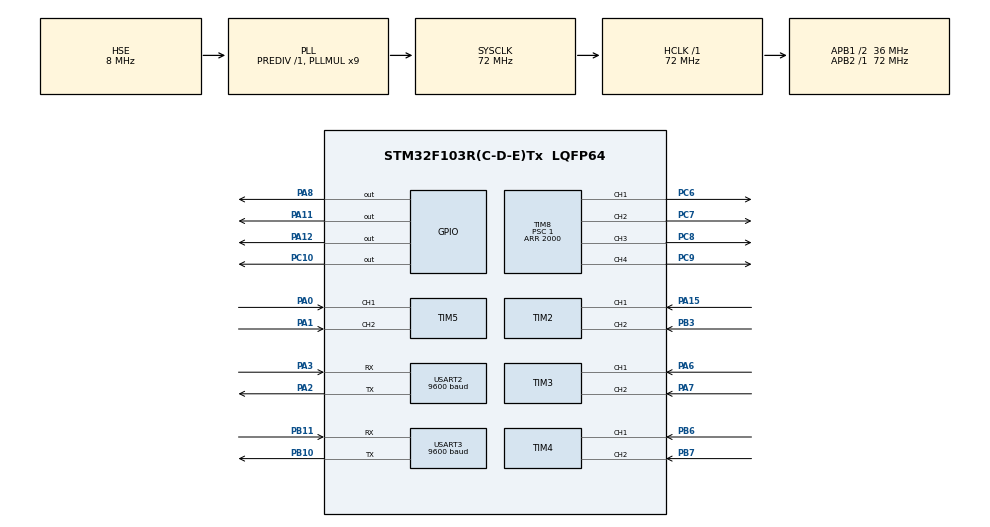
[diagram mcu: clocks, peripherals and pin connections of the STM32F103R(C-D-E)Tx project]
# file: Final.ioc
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Mcu.Family=STM32F1
Mcu.Name=STM32F103R(C-D-E)Tx
Mcu.Package=LQFP64
NVIC.PriorityGroup=NVIC_PRIORITYGROUP_4
NVIC.TIM2_IRQn=true\:0\:0\:false\:false\:true\:true\:true\:true
NVIC.TIM3_IRQn=true\:0\:0\:false\:false\:true\:true\:true\:true
NVIC.TIM4_IRQn=true\:0\:0\:false\:false\:true\:true\:true\:true
NVIC.TIM6_IRQn=true\:0\:0\:false\:false\:true\:true\:true\:true
PA0-WKUP.Signal=S_TIM5_CH1
PA1.Signal=S_TIM5_CH2
PA11.Signal=GPIO_Output
PA12.Signal=GPIO_Output
PA13.Mode=Serial_Wire
PA13.Signal=SYS_JTMS-SWDIO
PA14.Mode=Serial_Wire
PA14.Signal=SYS_JTCK-SWCLK
PA15.Signal=S_TIM2_CH1_ETR
PA2.Mode=Asynchronous
PA2.Signal=USART2_TX
PA3.Mode=Asynchronous
PA3.Signal=USART2_RX
PA6.Signal=S_TIM3_CH1
PA7.Signal=S_TIM3_CH2
PA8.Signal=GPIO_Output
PB10.Mode=Asynchronous
PB10.Signal=USART3_TX
PB11.Mode=Asynchronous
PB11.Signal=USART3_RX
PB3.Signal=S_TIM2_CH2
PB6.Signal=S_TIM4_CH1
PB7.Signal=S_TIM4_CH2
PC10.Signal=GPIO_Output
PC6.Signal=S_TIM8_CH1
PC7.Signal=S_TIM8_CH2
PC8.Signal=S_TIM8_CH3
PC9.Signal=S_TIM8_CH4
PD0-OSC_IN.Mode=HSE-External-Oscillator
PD0-OSC_IN.Signal=RCC_OSC_IN
PD1-OSC_OUT.Mode=HSE-External-Oscillator
PD1-OSC_OUT.Signal=RCC_OSC_OUT
ProjectManager.HeapSize=0x200
ProjectManager.StackSize=0x400
ProjectManager.TargetToolchain=MDK-ARM V5.32
RCC.AHBFreq_Value=72000000
RCC.APB1CLKDivider=RCC_HCLK_DIV2
RCC.APB1Freq_Value=36000000
RCC.APB1TimFreq_Value=72000000
RCC.APB2Freq_Value=72000000
RCC.APB2TimFreq_Value=72000000
RCC.HCLKFreq_Value=72000000
RCC.PLLMUL=RCC_PLL_MUL9
RCC.PLLSourceVirtual=RCC_PLLSOURCE_HSE
RCC.SYSCLKFreq_VALUE=72000000
RCC.SYSCLKSource=RCC_SYSCLKSOURCE_PLLCLK
RCC.USBFreq_Value=72000000
SH.S_TIM2_CH1_ETR.0=TIM2_CH1,Encoder_Interface
SH.S_TIM2_CH2.0=TIM2_CH2,Encoder_Interface
SH.S_TIM3_CH1.0=TIM3_CH1,Encoder_Interface
SH.S_TIM3_CH2.0=TIM3_CH2,Encoder_Interface
SH.S_TIM4_CH1.0=TIM4_CH1,Encoder_Interface
SH.S_TIM4_CH2.0=TIM4_CH2,Encoder_Interface
SH.S_TIM5_CH1.0=TIM5_CH1,Encoder_Interface
SH.S_TIM5_CH2.0=TIM5_CH2,Encoder_Interface
SH.S_TIM8_CH1.0=TIM8_CH1,PWM Generation1 CH1
SH.S_TIM8_CH2.0=TIM8_CH2,PWM Generation2 CH2
SH.S_TIM8_CH3.0=TIM8_CH3,PWM Generation3 CH3
SH.S_TIM8_CH4.0=TIM8_CH4,PWM Generation4 CH4
TIM2.EncoderMode=TIM_ENCODERMODE_TI12
TIM3.EncoderMode=TIM_ENCODERMODE_TI12
TIM4.EncoderMode=TIM_ENCODERMODE_TI12
TIM5.EncoderMode=TIM_ENCODERMODE_TI12
TIM6.AutoReloadPreload=TIM_AUTORELOAD_PRELOAD_ENABLE
TIM6.Period=199
TIM6.Prescaler=7199
TIM8.Channel-PWM\ Generation1\ CH1=TIM_CHANNEL_1
TIM8.Channel-PWM\ Generation2\ CH2=TIM_CHANNEL_2
TIM8.Channel-PWM\ Generation3\ CH3=TIM_CHANNEL_3
TIM8.Channel-PWM\ Generation4\ CH4=TIM_CHANNEL_4
TIM8.Period=2000
TIM8.Prescaler=1
USART2.BaudRate=9600
USART2.VirtualMode=VM_ASYNC
USART3.BaudRate=9600
USART3.VirtualMode=VM_ASYNC
VP_TIM6_VS_ClockSourceINT.Mode=Enable_Timer
VP_TIM8_VS_ClockSourceINT.Mode=Internal
board=custom

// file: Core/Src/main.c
/* USER CODE BEGIN Header */
/**
  ******************************************************************************
  * @file           : main.c
  * @brief          : Main program body
  ******************************************************************************
  * @attention
  *
  * Copyright (c) 2025 STMicroelectronics.
  * All rights reserved.
  *
  * This software is licensed under terms that can be found in the LICENSE file
  * in the root directory of this software component.
  * If no LICENSE file comes with this software, it is provided AS-IS.
  *
  ******************************************************************************
  */
/* USER CODE END Header */
#include "main.h"
#include "tim.h"
#include "usart.h"
#include "gpio.h"

/* USER CODE BEGIN Includes */
#include "encode.h"
#include "PidMotor.h"
#include "app_motor_FAL.h"
/* USER CODE END Includes */

void SystemClock_Config(void);

/* USER CODE BEGIN 0 */
uint8_t receiveData[7];
uint32_t timeout=0;
uint8_t move_state=0;
uint32_t loop_tick=0;
/* USER CODE END 0 */

int main(void)
{

  /* USER CODE BEGIN 1 */
	HAL_UART_Receive_IT(&huart3,receiveData,7);
	timeout=HAL_GetTick();
	motor_speed_set(0,0,0,0);
  /* USER CODE END 1 */

  /* MCU Configuration--------------------------------------------------------*/

  /* Reset of all peripherals, Initializes the Flash interface and the Systick. */
  HAL_Init();

  /* Configure the system clock */
  SystemClock_Config();

  /* Initialize all configured peripherals */
  MX_GPIO_Init();
  MX_USART2_UART_Init();
  MX_USART3_UART_Init();
  MX_TIM2_Init();
  MX_TIM3_Init();
  MX_TIM4_Init();
  MX_TIM5_Init();
  MX_TIM8_Init();
  MX_TIM6_Init();

  /* Infinite loop */
  /* USER CODE BEGIN WHILE */
  while (1)
  {
		if(HAL_GetTick()-timeout>=100)
		{
			motor_speed_set(0,0,0,0);
			app_motor_run();
		}
    /* USER CODE END WHILE */

  }
}

void SystemClock_Config(void)
{
  RCC_OscInitTypeDef RCC_OscInitStruct = {0};
  RCC_ClkInitTypeDef RCC_ClkInitStruct = {0};

  /** Initializes the RCC Oscillators according to the specified parameters
  * in the RCC_OscInitTypeDef structure.
  */
  RCC_OscInitStruct.OscillatorType = RCC_OSCILLATORTYPE_HSE;
  RCC_OscInitStruct.HSEState = RCC_HSE_ON;
  RCC_OscInitStruct.HSEPredivValue = RCC_HSE_PREDIV_DIV1;
  RCC_OscInitStruct.HSIState = RCC_HSI_ON;
  RCC_OscInitStruct.PLL.PLLState = RCC_PLL_ON;
  RCC_OscInitStruct.PLL.PLLSource = RCC_PLLSOURCE_HSE;
  RCC_OscInitStruct.PLL.PLLMUL = RCC_PLL_MUL9;
  if (HAL_RCC_OscConfig(&RCC_OscInitStruct) != HAL_OK)
  {
    Error_Handler();
  }

  /** Initializes the CPU, AHB and APB buses clocks
  */
  RCC_ClkInitStruct.ClockType = RCC_CLOCKTYPE_HCLK|RCC_CLOCKTYPE_SYSCLK
                              |RCC_CLOCKTYPE_PCLK1|RCC_CLOCKTYPE_PCLK2;
  RCC_ClkInitStruct.SYSCLKSource = RCC_SYSCLKSOURCE_PLLCLK;
  RCC_ClkInitStruct.AHBCLKDivider = RCC_SYSCLK_DIV1;
  RCC_ClkInitStruct.APB1CLKDivider = RCC_HCLK_DIV2;
  RCC_ClkInitStruct.APB2CLKDivider = RCC_HCLK_DIV1;

  if (HAL_RCC_ClockConfig(&RCC_ClkInitStruct, FLASH_LATENCY_2) != HAL_OK)
  {
    Error_Handler();
  }
}

/* USER CODE BEGIN 4 */
void HAL_UART_RxCpltCallback(UART_HandleTypeDef *huart)
{
	if(huart == &huart3)
	{
		if(HAL_UART_GetState(&huart2)==HAL_UART_STATE_READY)
		{
			HAL_UART_Transmit_IT(&huart2,receiveData,7);
		}
		switch(receiveData[4])
		{
			case 87:
			{
				motor_speed_set(500,500,500,500);

				timeout=HAL_GetTick();
				break;
			}
			case 83:
			{
				motor_speed_set(-500,-500,-500,-500);

				timeout=HAL_GetTick();
				break;
			}
			case 65:
			{
				motor_speed_set(-500,500,500,-500);

				timeout=HAL_GetTick();
				break;
			}
			case 68:
			{
				motor_speed_set(500,-500,-500,500);

				timeout=HAL_GetTick();
				break;
			}
			case 81:
			{
				motor_speed_set(-500,500,-500,500);

				timeout=HAL_GetTick();
				break;
			}
			case 69:
			{
				motor_speed_set(500,-500,500,-500);

				timeout=HAL_GetTick();
				break;
			}
		}
		HAL_UART_Receive_IT(&huart3,receiveData,7);
	}
}

void HAL_TIM_PeriodElapsedCallback(TIM_HandleTypeDef *htim)
{
	app_motor_run();
}
/* USER CODE END 4 */

void Error_Handler(void)
{
  __disable_irq();
  while (1)
  {
  }
}
